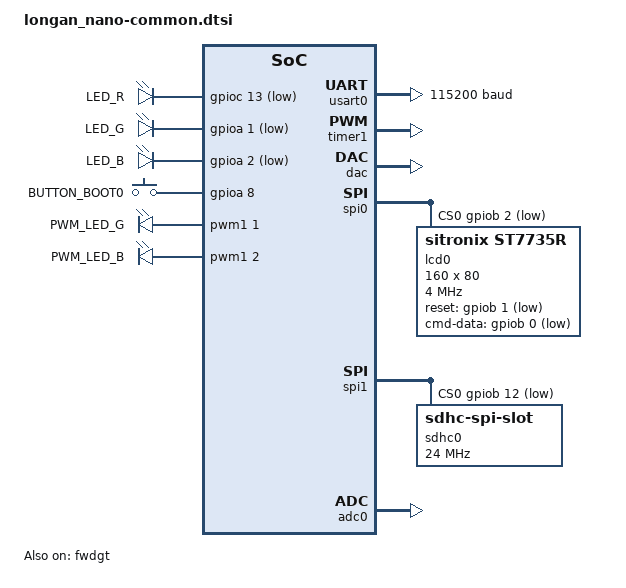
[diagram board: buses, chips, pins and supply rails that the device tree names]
/*
 * Copyright (c) 2021 Tokita, Hiroshi <tokita.hiroshi@gmail.com>
 *
 * SPDX-License-Identifier: Apache-2.0
 */

#include <zephyr/dt-bindings/input/input-event-codes.h>

/ {
	chosen {
		zephyr,console = &usart0;
		zephyr,shell-uart = &usart0;
		zephyr,sram = &sram0;
		zephyr,flash = &flash0;
		zephyr,display = &lcd0;
		sdhc0 = &sdhc0;
	};

	leds {
		compatible = "gpio-leds";
		led_red: led_red {
			gpios = <&gpioc 13 GPIO_ACTIVE_LOW>;
			label = "LED_R";
		};
		led_green: led_green {
			gpios = <&gpioa 1 GPIO_ACTIVE_LOW>;
			label = "LED_G";
		};
		led_blue: led_blue {
			gpios = <&gpioa 2 GPIO_ACTIVE_LOW>;
			label = "LED_B";
		};
	};

	gpio_keys {
		compatible = "gpio-keys";
		button_boot0: button_boot0 {
			label = "BUTTON_BOOT0";
			gpios = <&gpioa 8 GPIO_ACTIVE_HIGH>;
			zephyr,code = <INPUT_KEY_0>;
		};
	};

	pwmleds {
		compatible = "pwm-leds";

		/* NOTE: bridge TIMER1_CH1 and LED_GREEN (PA1) */
		pwm_led_green: pwm_led_green {
			pwms = <&pwm1 1 PWM_MSEC(20) PWM_POLARITY_NORMAL>;
			label = "PWM_LED_G";
		};
		/* NOTE: bridge TIMER1_CH2 and LED_BLUE (PA2) */
		pwm_led_blue: pwm_led_blue {
			pwms = <&pwm1 2 PWM_MSEC(20) PWM_POLARITY_NORMAL>;
			label = "PWM_LED_B";
		};
	};

	aliases {
		led0 = &led_red;
		led1 = &led_green;
		led2 = &led_blue;
		pwm-led0 = &pwm_led_green;
		pwm-led1 = &pwm_led_blue;
		sw0 = &button_boot0;
		watchdog0 = &fwdgt;
	};
};

&gpioa {
	status = "okay";
};

&gpiob {
	status = "okay";
};

&gpioc {
	status = "okay";
};

&usart0 {
	status = "okay";
	current-speed = <115200>;
	pinctrl-0 = <&usart0_default>;
	pinctrl-names = "default";
};

&timer1 {
	status = "okay";
	prescaler = <4096>;

	pwm1: pwm {
		status = "okay";
		pinctrl-0 = <&pwm1_default>;
		pinctrl-names = "default";
	};
};

&dac {
	status = "okay";
	pinctrl-0 = <&dac_default>;
	pinctrl-names = "default";
};

&spi0 {
	status = "okay";
	pinctrl-0 = <&spi0_default>;
	pinctrl-names = "default";

	cs-gpios = <&gpiob 2 GPIO_ACTIVE_LOW>;

	/* longan nano has LCD with st7735s controller.
	 * It can use with st7735r driver.
	 */
	lcd0: lcd@0 {
		compatible = "sitronix,st7735r";
		reg = <0>;
		status = "okay";
		reset-gpios = <&gpiob 1 GPIO_ACTIVE_LOW>;
		cmd-data-gpios = <&gpiob 0 GPIO_ACTIVE_LOW>;
		width = <160>;
		height = <80>;
		inversion-on;
		rgb-is-inverted;
		x-offset = <1>;
		y-offset = <26>;
		pwctr1 = [62 02 04];
		pwctr2 = [C0];
		pwctr3 = [0D 00];
		pwctr4 = [8D 6A];
		pwctr5 = [8D EE];
		invctr = <3>;
		frmctr1 = [05 3A 3A];
		frmctr2 = [05 3A 3A];
		frmctr3 = [05 3A 3A 05 3A 3A];
		vmctr1 = <14>;
		gamctrp1 = [10 0E 02 03 0E 07 02 07 0A 12 27 37 00 0D 0E 10];
		gamctrn1 = [10 0E 03 03 0F 06 02 08 0A 13 26 36 00 0D 0E 10];
		colmod = <5>;
		madctl = <120>;
		caset = [00 01 00 a0];
		raset = [00 1a 00 69];

		spi-max-frequency = <4000000>;
	};
};

&spi1 {
	status = "okay";
	pinctrl-0 = <&spi1_default>;
	pinctrl-names = "default";

	cs-gpios = <&gpiob 12 GPIO_ACTIVE_LOW>;

	sdhc0: sdhc@0 {
		compatible = "zephyr,sdhc-spi-slot";
		reg = <0>;
		status = "okay";
		spi-max-frequency = <24000000>;
		mmc {
			compatible = "zephyr,sdmmc-disk";
			status = "okay";
		};
	};
};

&adc0 {
	status = "okay";
	pinctrl-0 = <&adc0_default>;
	pinctrl-names = "default";
};

&fwdgt {
	status = "okay";
};
